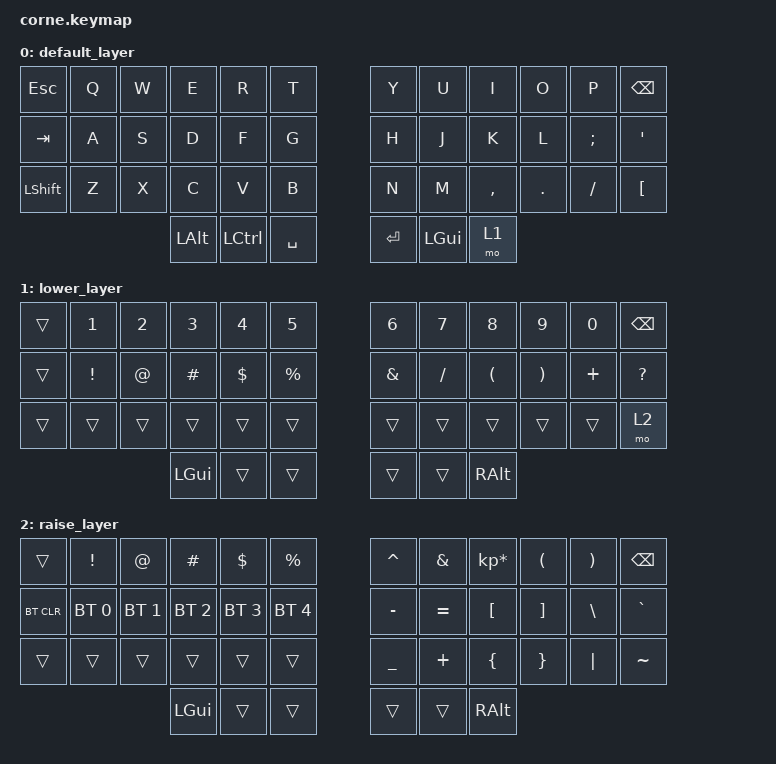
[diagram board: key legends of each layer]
/*
 * Copyright (c) 2020 The ZMK Contributors
 *
 * SPDX-License-Identifier: MIT
 */

#include <behaviors.dtsi>
#include <dt-bindings/zmk/keys.h>
#include <dt-bindings/zmk/bt.h>

/ {
        keymap {
                compatible = "zmk,keymap";

                default_layer {
// -----------------------------------------------------------------------------------------
// |  ESC |  Q  |  W  |  E  |  R  |  T  |   |  Y  |  U   |  I  |  O  |  P  | BKSP |
// |  TAB |  A  |  S  |  D  |  F  |  G  |   |  H  |  J   |  K  |  L  |  ;  |  '   |
// | SHFT |  Z  |  X  |  C  |  V  |  B  |   |  N  |  M   |  ,  |  .  |  /  | ESC  |
//                    | ALT | CRL | SPC |   | ENT | GUI  | LWR |
                        bindings = <
   &kp ESC   &kp Q &kp W &kp E &kp R &kp T       &kp Y &kp U  &kp I     &kp O   &kp P    &kp BSPC
   &kp TAB   &kp A &kp S &kp D &kp F &kp G       &kp H &kp J  &kp K     &kp L   &kp SEMI &kp SQT
   &kp LSHFT &kp Z &kp X &kp C &kp V &kp B       &kp N &kp M  &kp COMMA &kp DOT &kp FSLH &kp LBKT
                  &kp LALT &kp LCTRL &kp SPACE   &kp RET &kp LGUI &mo 1
                        >;
                };
                lower_layer {
// -----------------------------------------------------------------------------------------
// | ESC  |  1  |  2  |  3  |  4  |  5  |     |  6  |  7  |  8  |  9  |  0  | BKSP |
// | TAB  |  !  |  @  |  #  |  $  |  %  |     |  &  |  /  |  (  |  )  |  +  |  ?   |
// | SHFT |     |     |     |     |     |     |     |     |     |     |     |      |
//                    | ALT | CRL | SPC |     | ENT | Win | ALT |
                        bindings = <
   &trans    &kp N1       &kp N2       &kp N3       &kp N4       &kp N5         &kp N6   &kp N7   &kp N8 &kp N9    &kp N0 &kp BSPC
   &trans &kp EXCL &kp AT_SIGN &kp HASH &kp DLLR &kp PRCNT   &kp AMPS &kp SLASH &kp LPAR &kp RPAR &kp PLUS &kp QUESTION
   &trans  &trans       &trans       &trans       &trans       &trans         &trans   &trans   &trans &trans    &trans &mo 2
                          	     &kp LGUI     &trans       &trans      &trans  &trans   &kp RALT
                        >;
                };

                raise_layer {
// -----------------------------------------------------------------------------------------
// |  TAB |  !  |  @  |  #  |  $  |  %  |   |  ^  |  &  |  *  |  (  |  )  | BKSP |
// | BTCL | BT1 | BT2 | BT3 | BT4 | BT5 |   |     |     |     |     |     |      |
// | SHFT |     |     |     |     |     |   |     |     |     |     |     |      |
//                    | GUI |     | SPC |   | ENT |     | ALT |
                        bindings = <
   &trans  &kp EXCL &kp AT &kp HASH &kp DLLR &kp PRCNT   &kp CARET &kp AMPS  &kp KP_MULTIPLY &kp LPAR &kp RPAR &kp BSPC
   &bt BT_CLR &bt BT_SEL 0 &bt BT_SEL 1 &bt BT_SEL 2 &bt BT_SEL 3 &bt BT_SEL 4      &kp MINUS &kp EQUAL &kp LBKT        &kp RBKT &kp BSLH &kp GRAVE
   &trans &trans   &trans &trans   &trans   &trans      &kp UNDER &kp PLUS  &kp LBRC        &kp RBRC &kp PIPE &kp TILDE
                    	     &kp LGUI &trans   &trans   &trans   &trans    &kp RALT
                        >;
                };
        };
};
